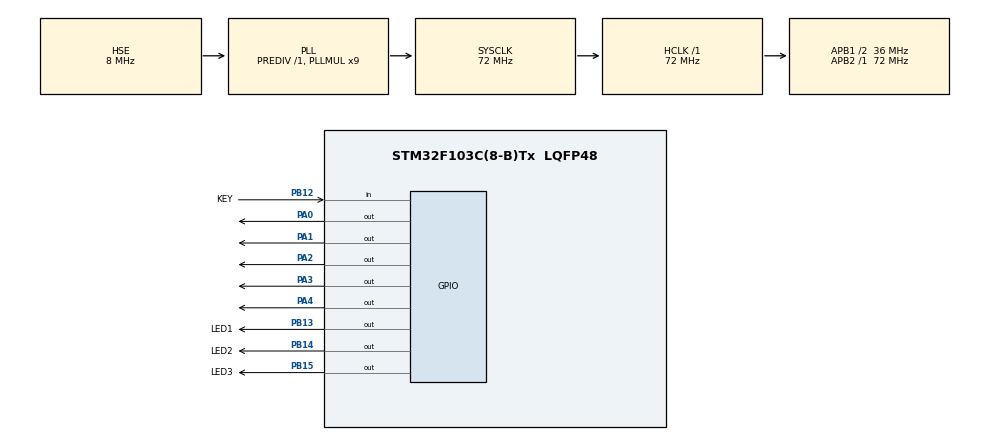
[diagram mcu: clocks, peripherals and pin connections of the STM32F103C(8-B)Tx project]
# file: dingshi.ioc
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Mcu.Family=STM32F1
Mcu.Name=STM32F103C(8-B)Tx
Mcu.Package=LQFP48
NVIC.PriorityGroup=NVIC_PRIORITYGROUP_4
NVIC.TIM2_IRQn=true\:0\:0\:false\:false\:true\:true
PA0-WKUP.Signal=GPIO_Output
PA1.Signal=GPIO_Output
PA13.Mode=Serial_Wire
PA13.Signal=SYS_JTMS-SWDIO
PA14.Mode=Serial_Wire
PA14.Signal=SYS_JTCK-SWCLK
PA2.Signal=GPIO_Output
PA3.Signal=GPIO_Output
PA4.Signal=GPIO_Output
PB12.GPIO_Label=KEY
PB12.Signal=GPIO_Input
PB13.GPIO_Label=LED1
PB13.PinState=GPIO_PIN_SET
PB13.Signal=GPIO_Output
PB14.GPIO_Label=LED2
PB14.PinState=GPIO_PIN_SET
PB14.Signal=GPIO_Output
PB15.GPIO_Label=LED3
PB15.PinState=GPIO_PIN_SET
PB15.Signal=GPIO_Output
PD0-OSC_IN.Mode=HSE-External-Oscillator
PD0-OSC_IN.Signal=RCC_OSC_IN
PD1-OSC_OUT.Mode=HSE-External-Oscillator
PD1-OSC_OUT.Signal=RCC_OSC_OUT
ProjectManager.HeapSize=0x200
ProjectManager.StackSize=0x400
ProjectManager.TargetToolchain=EWARM V7
RCC.AHBFreq_Value=72000000
RCC.APB1CLKDivider=RCC_HCLK_DIV2
RCC.APB1Freq_Value=36000000
RCC.APB1TimFreq_Value=72000000
RCC.APB2Freq_Value=72000000
RCC.APB2TimFreq_Value=72000000
RCC.HCLKFreq_Value=72000000
RCC.PLLMUL=RCC_PLL_MUL9
RCC.PLLSourceVirtual=RCC_PLLSOURCE_HSE
RCC.SYSCLKFreq_VALUE=72000000
RCC.SYSCLKSource=RCC_SYSCLKSOURCE_PLLCLK
RCC.USBFreq_Value=72000000
TIM2.Period=1000-1
TIM2.Prescaler=72-1
VP_TIM2_VS_ClockSourceINT.Mode=Internal
board=custom

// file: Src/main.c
/**
  ******************************************************************************
  * @file           : main.c
  * @brief          : Main program body
  ******************************************************************************
  ** This notice applies to any and all portions of this file
  * that are not between comment pairs USER CODE BEGIN and
  * USER CODE END. Other portions of this file, whether
  * inserted by the user or by software development tools
  * are owned by their respective copyright owners.
  *
  * COPYRIGHT(c) 2019 STMicroelectronics
  *
  * Redistribution and use in source and binary forms, with or without modification,
  * are permitted provided that the following conditions are met:
  *   1. Redistributions of source code must retain the above copyright notice,
  *      this list of conditions and the following disclaimer.
  *   2. Redistributions in binary form must reproduce the above copyright notice,
  *      this list of conditions and the following disclaimer in the documentation
  *      and/or other materials provided with the distribution.
  *   3. Neither the name of STMicroelectronics nor the names of its contributors
  *      may be used to endorse or promote products derived from this software
  *      without specific prior written permission.
  *
  * THIS SOFTWARE IS PROVIDED BY THE COPYRIGHT HOLDERS AND CONTRIBUTORS "AS IS"
  * AND ANY EXPRESS OR IMPLIED WARRANTIES, INCLUDING, BUT NOT LIMITED TO, THE
  * IMPLIED WARRANTIES OF MERCHANTABILITY AND FITNESS FOR A PARTICULAR PURPOSE ARE
  * DISCLAIMED. IN NO EVENT SHALL THE COPYRIGHT HOLDER OR CONTRIBUTORS BE LIABLE
  * FOR ANY DIRECT, INDIRECT, INCIDENTAL, SPECIAL, EXEMPLARY, OR CONSEQUENTIAL
  * DAMAGES (INCLUDING, BUT NOT LIMITED TO, PROCUREMENT OF SUBSTITUTE GOODS OR
  * SERVICES; LOSS OF USE, DATA, OR PROFITS; OR BUSINESS INTERRUPTION) HOWEVER
  * CAUSED AND ON ANY THEORY OF LIABILITY, WHETHER IN CONTRACT, STRICT LIABILITY,
  * OR TORT (INCLUDING NEGLIGENCE OR OTHERWISE) ARISING IN ANY WAY OUT OF THE USE
  * OF THIS SOFTWARE, EVEN IF ADVISED OF THE POSSIBILITY OF SUCH DAMAGE.
  *
  ******************************************************************************
  */
#include "main.h"
#include "stm32f1xx_hal.h"
#include "tim.h"
#include "gpio.h"

/* USER CODE BEGIN Includes */
#include "DS1302.h"
#include "time.h"
#include "DHT11.h"
/* USER CODE END Includes */

/* USER CODE BEGIN PV */
/* Private variables ---------------------------------------------------------*/

/* USER CODE END PV */

void SystemClock_Config(void);

/* USER CODE BEGIN PFP */
/* Private function prototypes -----------------------------------------------*/

/* USER CODE END PFP */

/* USER CODE BEGIN 0 */
uint8_t button_time=0;//消抖计数器
uint8_t key_time=0; //按下按键的次数

/* USER CODE END 0 */

int main(void)
{
  /* USER CODE BEGIN 1 */
  struct tm gpstoutc;
  uint64_t  utc_time;//记录当前utc时间
  uint64_t  start_time; //记录开始计时的时间
  int timer = 0; //计时时长,单位S
  uint8_t timer_flag = 0;//计时标志位，是否开始计时,0处于非计时状态，1处于计时状态
  DHT11_Data_TypeDef DHT11_Data;//储存温度和湿度信息的结构体
  /* USER CODE END 1 */

  /* MCU Configuration----------------------------------------------------------*/

  /* Reset of all peripherals, Initializes the Flash interface and the Systick. */
  HAL_Init();

  /* Configure the system clock */
  SystemClock_Config();

  /* Initialize all configured peripherals */
  MX_GPIO_Init();
  MX_TIM2_Init();
  /* USER CODE BEGIN 2 */
  HAL_TIM_Base_Start_IT(&htim2);//开启定时器中断
   Set_Ds1302_star();//启动DS1302

  /* USER CODE END 2 */

  /* Infinite loop */
  /* USER CODE BEGIN WHILE */
  while (1)
  {

        gpstoutc.tm_sec  = DS1302_Get_Sec(); //获取秒
        gpstoutc.tm_min  = DS1302_Get_Min(); //获取分
        gpstoutc.tm_hour = DS1302_Get_Hour(); //获取时
        gpstoutc.tm_mday = DS1302_Get_Date(); //获取日期
        gpstoutc.tm_mon  = DS1302_Get_Mouth()-1; //获取月份
        gpstoutc.tm_year = DS1302_Get_Year()+100; //获取年份
        gpstoutc.tm_isdst= 0; //夏令时，必须是0，不然时间会差1小时
        utc_time  =  mktime(&gpstoutc); //将时间转化为时间戳
        DHT11_Read_TempAndHumidity(&DHT11_Data);//读取温度值
        if(((DHT11_Data.humidity-32)/1.8)>20)
        {
          HAL_GPIO_WritePin(GPIOA, GPIO_PIN_4, GPIO_PIN_SET);//温度大于20度，继电器关闭
        }
        if(key_time == 1) //按下一次按键,计时10S，亮一个灯
        {
          HAL_GPIO_WritePin(GPIOB, LED1_Pin, GPIO_PIN_RESET); //灯1亮
          HAL_GPIO_WritePin(GPIOB, LED2_Pin, GPIO_PIN_SET); //灯2灭
          HAL_GPIO_WritePin(GPIOB, LED3_Pin, GPIO_PIN_SET); //灯3灭
          if(timer_flag == 0)
          {
           start_time = utc_time; //记录开始计时的时间
           timer_flag = 1; //进入计时状态,标志位置1
          }
          timer = 10; //定时10s
        }
        if(key_time == 2) //按下两次按键,计时20S，亮两个灯
        {
          HAL_GPIO_WritePin(GPIOB, LED1_Pin, GPIO_PIN_RESET);//灯1亮
          HAL_GPIO_WritePin(GPIOB, LED2_Pin, GPIO_PIN_RESET);//灯2
          HAL_GPIO_WritePin(GPIOB, LED3_Pin, GPIO_PIN_SET);//灯3灭
          timer = 20; //定时20s
        }
        if(key_time == 3) //按下三次按键,计时30S，亮三个灯
        {
          HAL_GPIO_WritePin(GPIOB, LED1_Pin, GPIO_PIN_RESET);//灯1亮
          HAL_GPIO_WritePin(GPIOB, LED2_Pin, GPIO_PIN_RESET);//灯2亮
          HAL_GPIO_WritePin(GPIOB, LED3_Pin, GPIO_PIN_RESET);//灯3亮
          timer = 30;//定时30s
        }
        if(timer_flag == 1)
        {
          if((utc_time -  start_time) >= timer)//现在时间-开始计时的时间大于等于计时时长，退出计时,
          {
            HAL_GPIO_TogglePin(GPIOA, GPIO_PIN_4);//继电器状态翻转
            key_time = 4; //按键4状态就是退出计时
          }

        }
        if(key_time == 4) //按下四次按键,退出计时状态，所有数据清零，标志位置零,灯熄灭
        {
          timer_flag = 0;
          start_time = 0;
          timer = 0;
          key_time = 0;
          if(timer_flag == 0)
          HAL_GPIO_WritePin(GPIOB, LED1_Pin, GPIO_PIN_SET);//灯1灭
          HAL_GPIO_WritePin(GPIOB, LED2_Pin, GPIO_PIN_SET);//灯2灭
          HAL_GPIO_WritePin(GPIOB, LED3_Pin, GPIO_PIN_SET);//灯3灭
        }

  /* USER CODE END WHILE */

  }

}

void SystemClock_Config(void)
{

  RCC_OscInitTypeDef RCC_OscInitStruct;
  RCC_ClkInitTypeDef RCC_ClkInitStruct;

    /**Initializes the CPU, AHB and APB busses clocks
    */
  RCC_OscInitStruct.OscillatorType = RCC_OSCILLATORTYPE_HSE;
  RCC_OscInitStruct.HSEState = RCC_HSE_ON;
  RCC_OscInitStruct.HSEPredivValue = RCC_HSE_PREDIV_DIV1;
  RCC_OscInitStruct.HSIState = RCC_HSI_ON;
  RCC_OscInitStruct.PLL.PLLState = RCC_PLL_ON;
  RCC_OscInitStruct.PLL.PLLSource = RCC_PLLSOURCE_HSE;
  RCC_OscInitStruct.PLL.PLLMUL = RCC_PLL_MUL9;
  if (HAL_RCC_OscConfig(&RCC_OscInitStruct) != HAL_OK)
  {
    _Error_Handler(__FILE__, __LINE__);
  }

    /**Initializes the CPU, AHB and APB busses clocks
    */
  RCC_ClkInitStruct.ClockType = RCC_CLOCKTYPE_HCLK|RCC_CLOCKTYPE_SYSCLK
                              |RCC_CLOCKTYPE_PCLK1|RCC_CLOCKTYPE_PCLK2;
  RCC_ClkInitStruct.SYSCLKSource = RCC_SYSCLKSOURCE_PLLCLK;
  RCC_ClkInitStruct.AHBCLKDivider = RCC_SYSCLK_DIV1;
  RCC_ClkInitStruct.APB1CLKDivider = RCC_HCLK_DIV2;
  RCC_ClkInitStruct.APB2CLKDivider = RCC_HCLK_DIV1;

  if (HAL_RCC_ClockConfig(&RCC_ClkInitStruct, FLASH_LATENCY_2) != HAL_OK)
  {
    _Error_Handler(__FILE__, __LINE__);
  }

    /**Configure the Systick interrupt time
    */
  HAL_SYSTICK_Config(HAL_RCC_GetHCLKFreq()/1000);

    /**Configure the Systick
    */
  HAL_SYSTICK_CLKSourceConfig(SYSTICK_CLKSOURCE_HCLK);

  /* SysTick_IRQn interrupt configuration */
  HAL_NVIC_SetPriority(SysTick_IRQn, 0, 0);
}

/* USER CODE BEGIN 4 */
void HAL_TIM_PeriodElapsedCallback(TIM_HandleTypeDef *htim)
{

        if(htim->Instance == TIM2)
	{
          if(HAL_GPIO_ReadPin(GPIOB, KEY_Pin) == 1)
          {
            button_time++;
            if(button_time == 50)
            {
              key_time++;
            }
          }
          else button_time = 0;
        }

}
/* USER CODE END 4 */

void _Error_Handler(char *file, int line)
{
  while(1)
  {
  }
}

/************************ (C) COPYRIGHT STMicroelectronics *****END OF FILE****/
